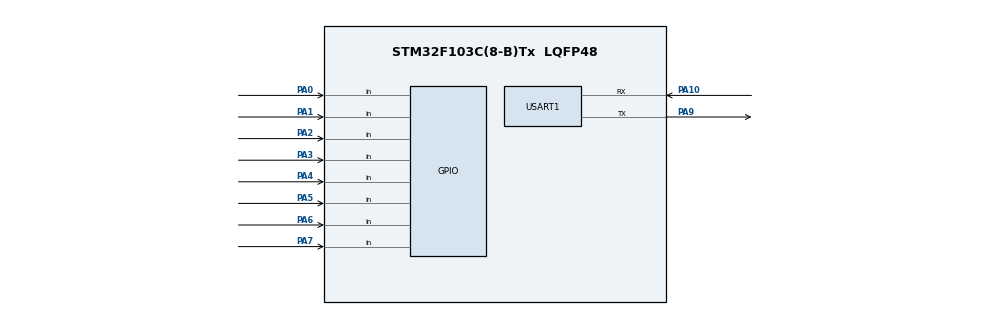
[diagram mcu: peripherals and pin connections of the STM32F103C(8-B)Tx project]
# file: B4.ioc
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Dma.Request0=USART1_TX
Dma.USART1_TX.0.Direction=DMA_MEMORY_TO_PERIPH
Dma.USART1_TX.0.Instance=DMA1_Channel4
Dma.USART1_TX.0.MemDataAlignment=DMA_MDATAALIGN_BYTE
Dma.USART1_TX.0.MemInc=DMA_MINC_ENABLE
Dma.USART1_TX.0.Mode=DMA_NORMAL
Dma.USART1_TX.0.PeriphDataAlignment=DMA_PDATAALIGN_BYTE
Dma.USART1_TX.0.PeriphInc=DMA_PINC_DISABLE
Dma.USART1_TX.0.Priority=DMA_PRIORITY_HIGH
Mcu.Family=STM32F1
Mcu.Name=STM32F103C(8-B)Tx
Mcu.Package=LQFP48
NVIC.DMA1_Channel4_IRQn=true\:0\:0\:false\:false\:true\:false\:true\:true
NVIC.PriorityGroup=NVIC_PRIORITYGROUP_4
NVIC.TIM2_IRQn=true\:0\:0\:false\:false\:true\:true\:true\:true
NVIC.USART1_IRQn=true\:0\:0\:false\:false\:true\:false\:true\:true
PA0-WKUP.GPIO_PuPd=GPIO_PULLUP
PA0-WKUP.Signal=GPIO_Input
PA1.GPIO_PuPd=GPIO_PULLUP
PA1.Signal=GPIO_Input
PA10.Mode=Asynchronous
PA10.Signal=USART1_RX
PA13.Mode=Serial_Wire
PA13.Signal=SYS_JTMS-SWDIO
PA14.Mode=Serial_Wire
PA14.Signal=SYS_JTCK-SWCLK
PA2.GPIO_PuPd=GPIO_PULLUP
PA2.Signal=GPIO_Input
PA3.GPIO_PuPd=GPIO_PULLUP
PA3.Signal=GPIO_Input
PA4.GPIO_PuPd=GPIO_PULLUP
PA4.Signal=GPIO_Input
PA5.GPIO_PuPd=GPIO_PULLUP
PA5.Signal=GPIO_Input
PA6.GPIO_PuPd=GPIO_PULLUP
PA6.Signal=GPIO_Input
PA7.GPIO_PuPd=GPIO_PULLUP
PA7.Signal=GPIO_Input
PA9.Mode=Asynchronous
PA9.Signal=USART1_TX
ProjectManager.HeapSize=0x200
ProjectManager.StackSize=0x400
ProjectManager.TargetToolchain=STM32CubeIDE
RCC.APB1Freq_Value=8000000
RCC.APB2Freq_Value=8000000
TIM2.AutoReloadPreload=TIM_AUTORELOAD_PRELOAD_ENABLE
TIM2.Period=999
TIM2.Prescaler=7
USART1.VirtualMode=VM_ASYNC
VP_TIM2_VS_ClockSourceINT.Mode=Internal
board=custom

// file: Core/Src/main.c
/* USER CODE BEGIN Header */
/**
  ******************************************************************************
  * @file           : main.c
  * @brief          : Main program body
  ******************************************************************************
  * @attention
  *
  * Copyright (c) 2026 STMicroelectronics.
  * All rights reserved.
  *
  * This software is licensed under terms that can be found in the LICENSE file
  * in the root directory of this software component.
  * If no LICENSE file comes with this software, it is provided AS-IS.
  *
  ******************************************************************************
  */
/* USER CODE END Header */
#include "main.h"

TIM_HandleTypeDef htim2;

UART_HandleTypeDef huart1;
DMA_HandleTypeDef hdma_usart1_tx;

/* USER CODE BEGIN PV */
uint8_t timer_flag=0, data=0, rx_data, uart_ready=1;
uint8_t old_data = 0XFF;
/* USER CODE END PV */

void SystemClock_Config(void);
static void MX_GPIO_Init(void);
static void MX_DMA_Init(void);
static void MX_TIM2_Init(void);
static void MX_USART1_UART_Init(void);

int main(void)
{

  /* MCU Configuration--------------------------------------------------------*/

  /* Reset of all peripherals, Initializes the Flash interface and the Systick. */
  HAL_Init();

  /* Configure the system clock */
  SystemClock_Config();

  /* Initialize all configured peripherals */
  MX_GPIO_Init();
  MX_DMA_Init();
  MX_TIM2_Init();
  MX_USART1_UART_Init();
  /* USER CODE BEGIN 2 */
  HAL_TIM_Base_Start_IT(&htim2);

  /* USER CODE END 2 */

  /* Infinite loop */
  /* USER CODE BEGIN WHILE */
  while (1)
  {
	  if (timer_flag && uart_ready)
	  {
		  timer_flag = 0;
		  //Kiem tra trang thai LED
		  uint8_t current_data = (uint8_t)(GPIOA->IDR & 0X00FF);
		  //Chi gui data di neu co su thay doi
		  if (current_data != old_data)
		  {
			  old_data = current_data;
			  uart_ready = 0;
			  data = current_data;
			  HAL_UART_Transmit_DMA(&huart1, &data, 1);
		  }
	  }
    /* USER CODE END WHILE */

  }
}

void SystemClock_Config(void)
{
  RCC_OscInitTypeDef RCC_OscInitStruct = {0};
  RCC_ClkInitTypeDef RCC_ClkInitStruct = {0};

  /** Initializes the RCC Oscillators according to the specified parameters
  * in the RCC_OscInitTypeDef structure.
  */
  RCC_OscInitStruct.OscillatorType = RCC_OSCILLATORTYPE_HSI;
  RCC_OscInitStruct.HSIState = RCC_HSI_ON;
  RCC_OscInitStruct.HSICalibrationValue = RCC_HSICALIBRATION_DEFAULT;
  RCC_OscInitStruct.PLL.PLLState = RCC_PLL_NONE;
  if (HAL_RCC_OscConfig(&RCC_OscInitStruct) != HAL_OK)
  {
    Error_Handler();
  }

  /** Initializes the CPU, AHB and APB buses clocks
  */
  RCC_ClkInitStruct.ClockType = RCC_CLOCKTYPE_HCLK|RCC_CLOCKTYPE_SYSCLK
                              |RCC_CLOCKTYPE_PCLK1|RCC_CLOCKTYPE_PCLK2;
  RCC_ClkInitStruct.SYSCLKSource = RCC_SYSCLKSOURCE_HSI;
  RCC_ClkInitStruct.AHBCLKDivider = RCC_SYSCLK_DIV1;
  RCC_ClkInitStruct.APB1CLKDivider = RCC_HCLK_DIV1;
  RCC_ClkInitStruct.APB2CLKDivider = RCC_HCLK_DIV1;

  if (HAL_RCC_ClockConfig(&RCC_ClkInitStruct, FLASH_LATENCY_0) != HAL_OK)
  {
    Error_Handler();
  }
}

static void MX_TIM2_Init(void)
{

  TIM_ClockConfigTypeDef sClockSourceConfig = {0};
  TIM_MasterConfigTypeDef sMasterConfig = {0};

  htim2.Instance = TIM2;
  htim2.Init.Prescaler = 7;
  htim2.Init.CounterMode = TIM_COUNTERMODE_UP;
  htim2.Init.Period = 999;
  htim2.Init.ClockDivision = TIM_CLOCKDIVISION_DIV1;
  htim2.Init.AutoReloadPreload = TIM_AUTORELOAD_PRELOAD_ENABLE;
  if (HAL_TIM_Base_Init(&htim2) != HAL_OK)
  {
    Error_Handler();
  }
  sClockSourceConfig.ClockSource = TIM_CLOCKSOURCE_INTERNAL;
  if (HAL_TIM_ConfigClockSource(&htim2, &sClockSourceConfig) != HAL_OK)
  {
    Error_Handler();
  }
  sMasterConfig.MasterOutputTrigger = TIM_TRGO_RESET;
  sMasterConfig.MasterSlaveMode = TIM_MASTERSLAVEMODE_DISABLE;
  if (HAL_TIMEx_MasterConfigSynchronization(&htim2, &sMasterConfig) != HAL_OK)
  {
    Error_Handler();
  }

}

static void MX_USART1_UART_Init(void)
{

  huart1.Instance = USART1;
  huart1.Init.BaudRate = 115200;
  huart1.Init.WordLength = UART_WORDLENGTH_8B;
  huart1.Init.StopBits = UART_STOPBITS_1;
  huart1.Init.Parity = UART_PARITY_NONE;
  huart1.Init.Mode = UART_MODE_TX_RX;
  huart1.Init.HwFlowCtl = UART_HWCONTROL_NONE;
  huart1.Init.OverSampling = UART_OVERSAMPLING_16;
  if (HAL_UART_Init(&huart1) != HAL_OK)
  {
    Error_Handler();
  }

}

static void MX_DMA_Init(void)
{

  /* DMA controller clock enable */
  __HAL_RCC_DMA1_CLK_ENABLE();

  /* DMA interrupt init */
  /* DMA1_Channel4_IRQn interrupt configuration */
  HAL_NVIC_SetPriority(DMA1_Channel4_IRQn, 0, 0);
  HAL_NVIC_EnableIRQ(DMA1_Channel4_IRQn);

}

static void MX_GPIO_Init(void)
{
  GPIO_InitTypeDef GPIO_InitStruct = {0};

  /* GPIO Ports Clock Enable */
  __HAL_RCC_GPIOA_CLK_ENABLE();

  /*Configure GPIO pins : PA0 PA1 PA2 PA3
                           PA4 PA5 PA6 PA7 */
  GPIO_InitStruct.Pin = GPIO_PIN_0|GPIO_PIN_1|GPIO_PIN_2|GPIO_PIN_3
                          |GPIO_PIN_4|GPIO_PIN_5|GPIO_PIN_6|GPIO_PIN_7;
  GPIO_InitStruct.Mode = GPIO_MODE_INPUT;
  GPIO_InitStruct.Pull = GPIO_PULLUP;
  HAL_GPIO_Init(GPIOA, &GPIO_InitStruct);

}

/* USER CODE BEGIN 4 */
// Ngat TIM2
void HAL_TIM_PeriodElapsedCallback(TIM_HandleTypeDef *htim)
{
	timer_flag = 1;
}

//Cho DMA gui xong
void HAL_UART_TxCpltCallback(UART_HandleTypeDef *huart)
{
	if (huart->Instance == USART1)
	{
		uart_ready = 1;
	}
}
/* USER CODE END 4 */

void Error_Handler(void)
{
  __disable_irq();
  while (1)
  {
  }
}
